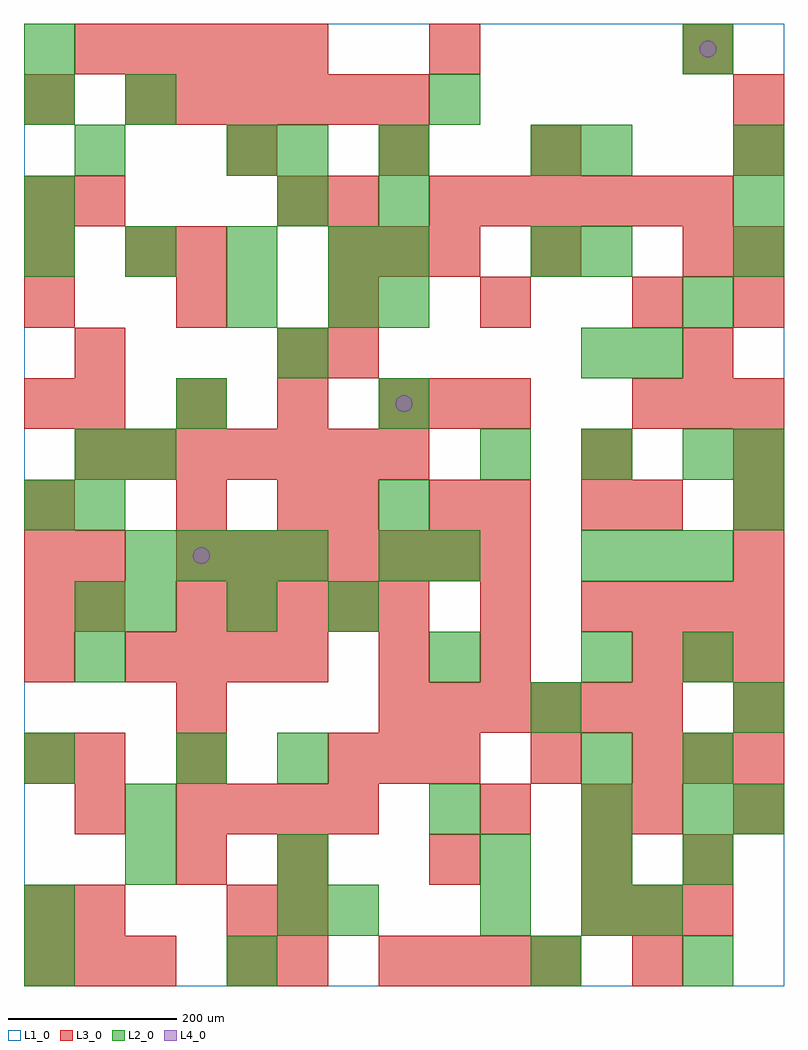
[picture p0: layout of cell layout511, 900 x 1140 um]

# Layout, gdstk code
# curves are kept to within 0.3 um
import gdstk
lib = gdstk.Library(unit=1e-6, precision=1e-09)
def R(c, l, rs):  # rectangles x0, y0, x1, y1
    for r in rs: c.add(gdstk.rectangle(r[:2], r[2:], *l))
def A(c, l, x, y, w, h, nx, ny, dx, dy):  # array of equal rectangles
    R(c, l, [(x+i*dx, y+j*dy, x+i*dx+w, y+j*dy+h) for i in range(nx) for j in range(ny)])
def P(c, l, *ps):  # polygons
    for p in ps: c.add(gdstk.Polygon(p, *l))
L1_0 = (1, 0)
L2_0 = (2, 0)
L3_0 = (3, 0)
L4_0 = (4, 0)

layout511 = lib.new_cell('layout511')
R(layout511, L1_0, [(0,0,900,1140)])
A(layout511, L2_0, 540, 120, 60, 60, 3, 2, 120, 480)
A(layout511, L2_0, 120, 180, 60, 60, 1, 3, 0, 420)
A(layout511, L2_0, 120, 420, 60, 60, 3, 1, 120, 0)
A(layout511, L2_0, 120, 480, 60, 60, 4, 1, 60, 0)
A(layout511, L2_0, 660, 480, 60, 60, 3, 1, 60, 0)
A(layout511, L2_0, 420, 540, 60, 60, 1, 3, 0, 120)
A(layout511, L2_0, 660, 720, 60, 60, 1, 3, 0, 120)
A(layout511, L2_0, 0, 840, 60, 60, 4, 1, 120, 0)
A(layout511, L2_0, 420, 840, 60, 60, 1, 3, 0, 60)
A(layout511, L2_0, 840, 840, 60, 60, 1, 3, 0, 60)
R(layout511, L2_0, [(0,0,60,60), (240,0,300,60), (600,0,660,60), (780,0,840,60), (0,60,60,120), (300,60,360,120), (360,60,420,120), (540,60,600,120), (660,60,720,120), (720,60,780,120), (120,120,180,180), (300,120,360,180), (480,180,540,240), (660,180,720,240), (780,180,840,240), (840,180,900,240), (0,240,60,300), (180,240,240,300), (300,240,360,300), (660,240,720,300), (780,240,840,300), (600,300,660,360), (840,300,900,360), (60,360,120,420), (480,360,540,420), (660,360,720,420), (780,360,840,420), (60,420,120,480), (420,480,480,540), (480,480,540,540), (0,540,60,600), (60,540,120,600), (840,540,900,600), (60,600,120,660), (840,600,900,660), (180,660,240,720), (300,720,360,780), (720,720,780,780), (240,780,300,840), (360,780,420,840), (780,780,840,840), (600,840,660,900), (0,900,60,960), (300,900,360,960), (60,960,120,1020), (240,960,300,1020), (300,960,360,1020), (600,960,660,1020), (0,1020,60,1080), (480,1020,540,1080), (0,1080,60,1140), (780,1080,840,1140)])
A(layout511, L3_0, 0, 0, 60, 60, 3, 1, 60, 0)
A(layout511, L3_0, 420, 0, 60, 60, 4, 1, 60, 0)
A(layout511, L3_0, 660, 60, 60, 60, 3, 1, 60, 0)
A(layout511, L3_0, 300, 120, 60, 60, 3, 1, 180, 0)
A(layout511, L3_0, 180, 180, 60, 60, 4, 1, 60, 0)
A(layout511, L3_0, 360, 240, 60, 60, 3, 2, 60, 600)
A(layout511, L3_0, 720, 240, 60, 60, 3, 2, 60, 120)
A(layout511, L3_0, 420, 300, 60, 60, 6, 1, 60, 0)
A(layout511, L3_0, 0, 360, 60, 60, 1, 4, 0, 60)
A(layout511, L3_0, 120, 360, 60, 60, 4, 1, 60, 0)
A(layout511, L3_0, 180, 420, 60, 60, 5, 1, 60, 0)
A(layout511, L3_0, 540, 420, 60, 60, 1, 3, 0, 120)
A(layout511, L3_0, 660, 420, 60, 60, 4, 1, 60, 0)
A(layout511, L3_0, 180, 480, 60, 60, 7, 1, 60, 0)
A(layout511, L3_0, 840, 480, 60, 60, 1, 3, 0, 60)
A(layout511, L3_0, 300, 540, 60, 60, 1, 3, 0, 180)
A(layout511, L3_0, 360, 540, 60, 60, 1, 3, 0, 180)
A(layout511, L3_0, 60, 600, 60, 60, 7, 1, 60, 0)
A(layout511, L3_0, 60, 660, 60, 60, 4, 1, 120, 0)
A(layout511, L3_0, 720, 660, 60, 60, 3, 1, 60, 0)
A(layout511, L3_0, 0, 780, 60, 60, 5, 1, 180, 0)
A(layout511, L3_0, 480, 900, 60, 60, 6, 1, 60, 0)
A(layout511, L3_0, 240, 960, 60, 60, 3, 1, 180, 0)
A(layout511, L3_0, 120, 1020, 60, 60, 6, 1, 60, 0)
A(layout511, L3_0, 60, 1080, 60, 60, 5, 1, 60, 0)
R(layout511, L3_0, [(240,0,300,60), (300,0,360,60), (720,0,780,60), (0,60,60,120), (60,60,120,120), (240,60,300,120), (300,60,360,120), (180,120,240,180), (780,120,840,180), (60,180,120,240), (540,180,600,240), (660,180,720,240), (720,180,780,240), (840,180,900,240), (0,240,60,300), (60,240,120,300), (180,240,240,300), (600,240,660,300), (180,300,240,360), (840,300,900,360), (420,360,480,420), (540,360,600,420), (60,420,120,480), (60,480,120,540), (180,540,240,600), (480,540,540,600), (660,540,720,600), (720,540,780,600), (660,600,720,660), (0,660,60,720), (480,660,540,720), (60,720,120,780), (780,720,840,780), (840,780,900,840), (0,840,60,900), (120,840,180,900), (180,840,240,900), (600,840,660,900), (780,840,840,900), (840,840,900,900), (0,900,60,960), (60,900,120,960), (840,960,900,1020), (0,1020,60,1080), (840,1020,900,1080), (480,1080,540,1140), (780,1080,840,1140)])
P(layout511, L4_0, [(220,510),(219.239,513.827),(217.071,517.071),(213.827,519.239),(210,520),(206.173,519.239),(202.929,517.071),(200.761,513.827),(200,510),(200.761,506.173),(202.929,502.929),(206.173,500.761),(210,500),(213.827,500.761),(217.071,502.929),(219.239,506.173)],
  [(460,690),(459.239,693.827),(457.071,697.071),(453.827,699.239),(450,700),(446.173,699.239),(442.929,697.071),(440.761,693.827),(440,690),(440.761,686.173),(442.929,682.929),(446.173,680.761),(450,680),(453.827,680.761),(457.071,682.929),(459.239,686.173)],
  [(820,1110),(819.239,1113.827),(817.071,1117.071),(813.827,1119.239),(810,1120),(806.173,1119.239),(802.929,1117.071),(800.761,1113.827),(800,1110),(800.761,1106.173),(802.929,1102.929),(806.173,1100.761),(810,1100),(813.827,1100.761),(817.071,1102.929),(819.239,1106.173)])

lib.write_gds('layout511.gds')
